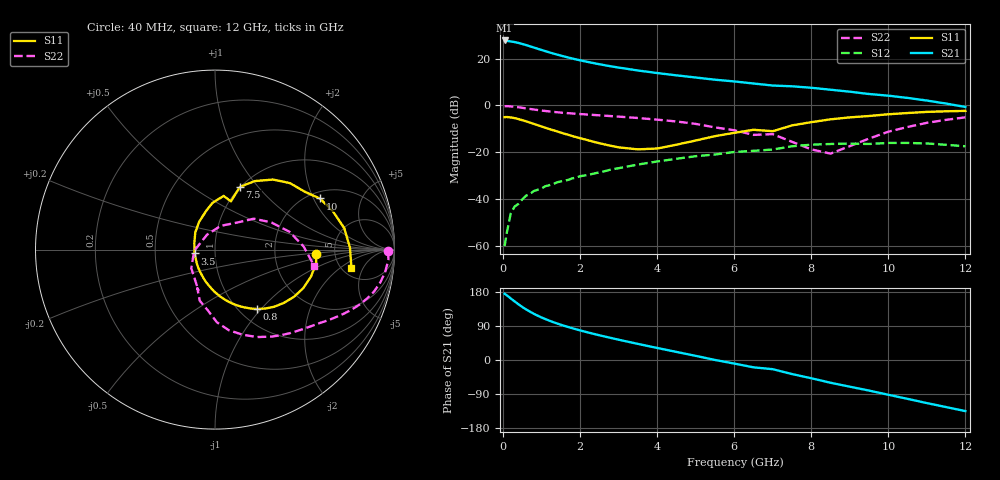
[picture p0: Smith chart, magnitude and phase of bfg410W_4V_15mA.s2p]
! Filename: 415bfg410.001
! BFG410W Field B1
! V1=8.649E-001V,V2=4.000E+000V, I1=2.178E-004A, I2=1.503E-002A
# GHz  S  MA  R 50
!  S11  S21  S12  S22
!Freq(GHz)  Mag  Ang  Mag  Ang  Mag  Ang  Mag  Ang
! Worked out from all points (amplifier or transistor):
!   44 points, 40 MHz to 12 GHz, reference 50 ohm
!   highest |S21| = 27.7 dB at 40 MHz (marker M1)
!   |S21| within 3 dB of that: start of sweep to 795.3 MHz
!   unconditionally stable (mu >= 1): start of sweep to 56.16 MHz; 1.591 GHz to end of sweep
!   at 700 MHz: K = 0.63, MSG = 31.5 dB, |S12| = -37.7 dB
!   at 2.4 GHz: K = 1.16, MAG = 21.0 dB, |S12| = -28.9 dB
!   at 12 GHz: K = 1.49, MAG = 4.2 dB, |S12| = -17.4 dB
!   S11 on the Smith chart (normalised r, x): 40 MHz: 3.56, -0.24; 800 MHz: 1.20, -0.95; 3.5 GHz: 0.79, -0.03; 7.5 GHz: 0.99, +0.81; 10 GHz: 2.27, +2.24; 12 GHz: 6.05, -3.01
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0.04  0.563 -2.3  24.37 174.7  0.001 53.6  0.964 -0.6
0.2  0.555 -15.9  23.28 162.3  0.005 79.4  0.956 -7.6
0.3  0.537 -23.5  22.51 154.7  0.007 77.2  0.939 -11.2
0.4  0.513 -30.7  21.57 147.0  0.008 74.9  0.917 -14.7
0.5  0.485 -37.8  20.51 139.8  0.01 71.4  0.892 -17.6
0.6  0.459 -43.9  19.39 133.4  0.012 69.6  0.868 -20.2
0.8  0.405 -54.9  17.2 121.9  0.015 66.5  0.821 -24.7
1  0.356 -64.1  15.25 112.2  0.017 64.5  0.78 -28.4
1.1  0.335 -68.2  14.39 107.9  0.019 63.6  0.763 -30.0
1.4  0.28 -79.7  12.19 96.5  0.023 61.9  0.718 -34.5
1.8  0.223 -93.8  10.02 83.7  0.028 60.0  0.675 -39.9
2.2  0.182 -107.7  8.478 72.8  0.033 57.6  0.64 -45.4
2.8  0.138 -132.2  6.85 58.2  0.043 53.4  0.594 -53.9
3.5  0.116 -169.5  5.582 42.5  0.055 46.8  0.541 -64.3
4.5  0.146 138.8  4.396 21.3  0.073 34.6  0.456 -80.2
5.5  0.222 102.6  3.548 0.2  0.09 19.5  0.341 -96.7
6.5  0.303 80.9  2.944 -19.3  0.108 5.5  0.236 -114.7
7.5  0.376 68.3  2.566 -37.1  0.135 -5.5  0.168 -141.9
8.5  0.507 50.3  2.169 -60.0  0.151 -28.5  0.094 118.2
10  0.65 26.0  1.618 -91.8  0.159 -58.7  0.276 38.6
10.5  0.691 18.0  1.45 -102.5  0.159 -69.3  0.348 25.9
12  0.767 -7.7  0.93 -134.9  0.135 -107.5  0.559 -9.2
